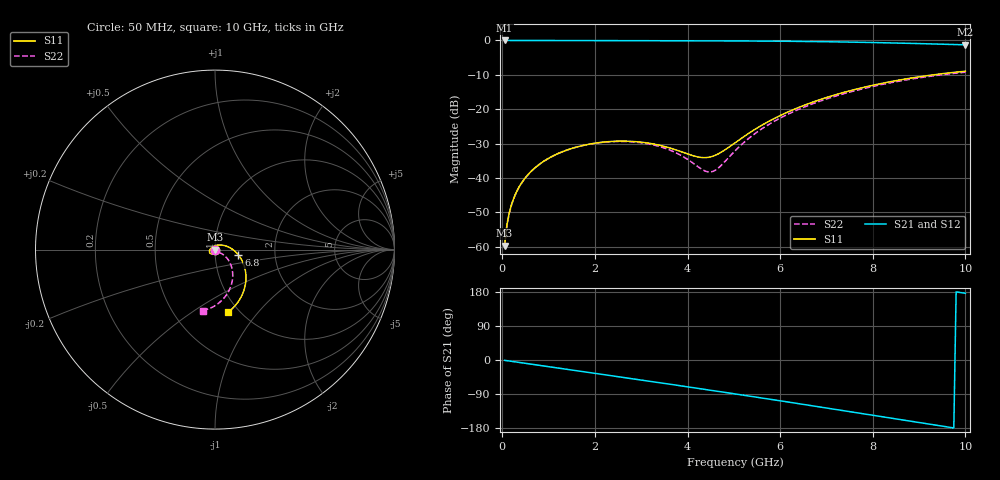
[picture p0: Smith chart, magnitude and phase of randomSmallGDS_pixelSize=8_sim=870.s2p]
! freq	dB(S11)	phase(S11)	dB(S12)	phase(S12)
!  dB(S21)	phase(S21)	dB(S22)	phase(S22)
!S-par simulation data
#  GHz  S  DB  R 50
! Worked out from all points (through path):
!   200 points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, 50 MHz to 10 GHz, reference 50 ohm
!   highest |S21| = 0.00 dB at 50 MHz (marker M1); lowest = -1.3 dB at 10 GHz (marker M2)
!   group delay of S21, straight-line fit = 51.2 ps
!   lowest |S11| = -59.6 dB at 50 MHz (marker M3), VSWR 1.00, Z = 50 - j0.105 ohm
!   |S11| at or under -10 dB: start of sweep to 9.302 GHz
!   |S22| runs from -59.8 to -9.2 dB; largest |S21 - S12| = 0
!   S11 on the Smith chart (normalised r, x): 50 MHz: 1.00, -0.00; 6.8 GHz: 1.30, -0.08; 10 GHz: 0.89, -0.71
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0.05  -59.61 -89.8  -0.00 -0.9  -0.00 -0.9  -59.79 -89.3
0.1  -53.62 -91.8  -0.00 -1.8  -0.00 -1.8  -53.77 -90.9
0.2  -47.66 -94.4  -0.00 -3.6  -0.00 -3.6  -47.77 -93.0
0.35  -42.89 -97.6  -0.01 -6.2  -0.01 -6.2  -42.94 -95.6
0.5  -39.87 -100.7  -0.01 -8.8  -0.01 -8.8  -39.90 -98.2
0.7  -37.08 -104.9  -0.01 -12.4  -0.01 -12.4  -37.10 -101.5
1  -34.25 -111.2  -0.02 -17.6  -0.02 -17.6  -34.25 -106.3
1.75  -30.49 -127.4  -0.04 -30.8  -0.04 -30.8  -30.50 -117.9
2.6  -29.26 -147.9  -0.06 -45.8  -0.06 -45.8  -29.35 -129.5
3.4  -30.47 -173.4  -0.08 -60.0  -0.08 -60.0  -30.85 -136.4
3.8  -32.03 167.0  -0.09 -67.2  -0.09 -67.2  -32.97 -134.7
4.2  -33.78 135.2  -0.10 -74.4  -0.10 -74.4  -36.45 -119.5
4.45  -33.97 107.3  -0.11 -78.9  -0.11 -78.9  -38.21 -92.3
4.65  -33.05 84.4  -0.12 -82.6  -0.12 -82.6  -37.24 -64.5
5.05  -29.51 49.7  -0.14 -89.9  -0.14 -89.9  -31.75 -36.3
5.75  -23.54 16.7  -0.19 -102.9  -0.19 -102.9  -24.44 -32.1
6.7  -17.93 -10.4  -0.32 -120.9  -0.32 -120.9  -18.42 -43.3
6.8  -17.47 -12.8  -0.33 -122.8  -0.33 -122.8  -17.93 -44.8
7.6  -14.29 -31.0  -0.50 -138.2  -0.50 -138.2  -14.65 -57.9
8.35  -12.06 -46.7  -0.70 -152.6  -0.70 -152.6  -12.38 -71.0
9.15  -10.28 -62.5  -0.96 -167.9  -0.96 -167.9  -10.57 -85.3
10  -8.94 -78.5  -1.27 176.0  -1.27 176.0  -9.22 -100.7
